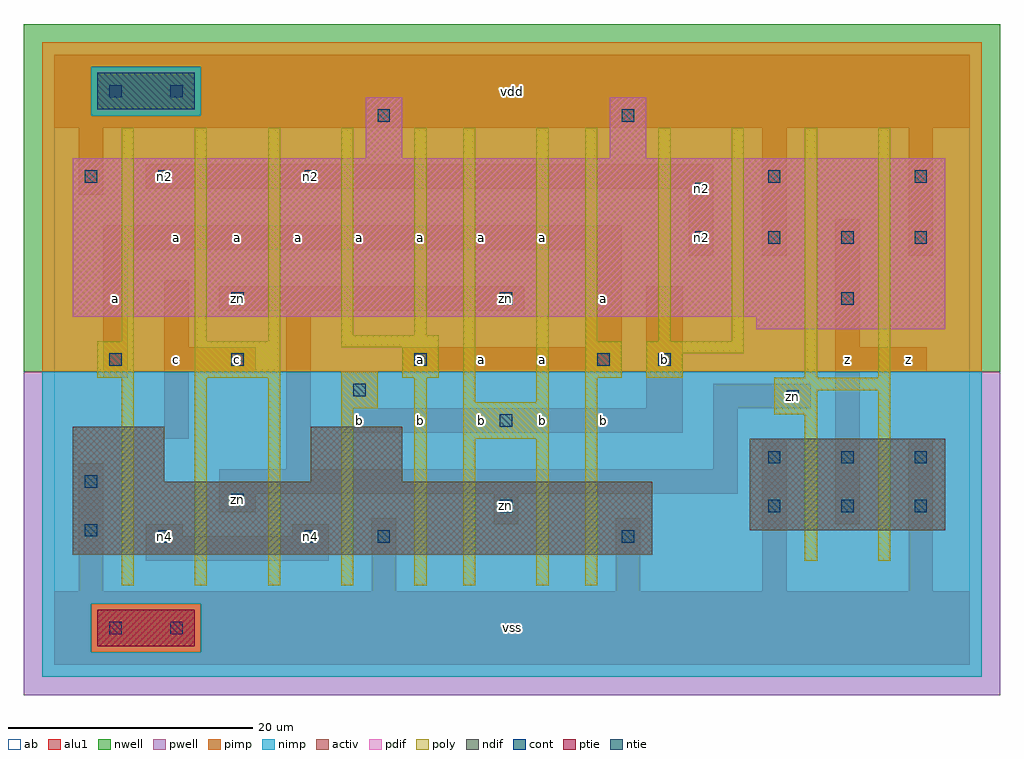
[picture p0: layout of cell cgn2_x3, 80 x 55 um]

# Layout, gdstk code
import gdstk
lib = gdstk.Library(unit=1e-6, precision=1e-09)
def R(c, l, rs):  # rectangles x0, y0, x1, y1
    for r in rs: c.add(gdstk.rectangle(r[:2], r[2:], *l))
def A(c, l, x, y, w, h, nx, ny, dx, dy):  # array of equal rectangles
    R(c, l, [(x+i*dx, y+j*dy, x+i*dx+w, y+j*dy+h) for i in range(nx) for j in range(ny)])
ndif = (3, 0)
pdif = (4, 0)
ntie = (5, 0)
ptie = (6, 0)
cont = (25, 0)
pwell = (41, 0)
nwell = (42, 0)
activ = (43, 0)
pimp = (44, 0)
nimp = (45, 0)
poly = (46, 0)
alu1 = (49, 0)
ab = (63, 0)

cgn2_x3 = lib.new_cell('cgn2_x3')
R(cgn2_x3, ndif, [(1.5,9,49,15), (57,11,73,18.5), (1.5,15,9,19.5), (21,15,28.5,19.5)])
R(cgn2_x3, pdif, [(57.5,27.5,73,28.5), (1.5,28.5,73,41.5), (25.5,41.5,28.5,46.5), (45.5,41.5,48.5,46.5)])
R(cgn2_x3, ntie, [(3.5,45.5,11.5,48.5)])
R(cgn2_x3, ptie, [(3.5,1.5,11.5,4.5)])
A(cgn2_x3, cont, 4.5, 2.5, 1, 1, 1, 3, 0, 22)
A(cgn2_x3, cont, 58.5, 12.5, 1, 1, 3, 2, 6, 4)
A(cgn2_x3, cont, 14.5, 24.5, 1, 1, 3, 1, 15, 0)
A(cgn2_x3, cont, 52.5, 34.5, 1, 1, 4, 1, 6, 0)
R(cgn2_x3, cont, [(9.5,2.5,10.5,3.5), (8.5,10,9.5,11), (20.5,10,21.5,11), (26.5,10,27.5,11), (46.5,10,47.5,11), (2.5,10.5,3.5,11.5), (36.5,12.5,37.5,13.5), (14.5,13,15.5,14), (2.5,14.5,3.5,15.5), (36.5,19.5,37.5,20.5), (60,21.5,61,22.5), (24.5,22,25.5,23), (49.5,24.5,50.5,25.5), (14.5,29.5,15.5,30.5), (36.5,29.5,37.5,30.5), (64.5,29.5,65.5,30.5), (52.5,38.5,53.5,39.5), (2.5,39.5,3.5,40.5), (8.5,39.5,9.5,40.5), (20.5,39.5,21.5,40.5), (58.5,39.5,59.5,40.5), (70.5,39.5,71.5,40.5), (26.5,44.5,27.5,45.5), (46.5,44.5,47.5,45.5), (9.5,46.5,10.5,47.5)])
R(cgn2_x3, pwell, [(-2.5,-2.5,77.5,24)])
R(cgn2_x3, nwell, [(-2.5,24,77.5,52.5)])
R(cgn2_x3, activ, [(3.5,1.5,11.5,4.5), (1.5,9,49,15), (57,11,73,18.5), (1.5,15,9,19.5), (21,15,28.5,19.5), (57.5,27.5,73,28.5), (1.5,28.5,73,41.5), (25.5,41.5,28.5,46.5), (45.5,41.5,48.5,46.5), (3.5,45.5,11.5,48.5)])
R(cgn2_x3, pimp, [(3,1,12,5), (-1,24,76,45), (-1,45,3,49), (12,45,76,49), (-1,49,76,51)])
R(cgn2_x3, nimp, [(-1,-1,76,1), (-1,1,3,5), (12,1,76,5), (-1,5,76,24), (3,45,12,49)])
A(cgn2_x3, poly, 5.5, 6.5, 1, 17, 3, 1, 6, 0)
A(cgn2_x3, poly, 5.5, 26.5, 1, 17.5, 3, 1, 6, 0)
A(cgn2_x3, poly, 43.5, 26.5, 1, 17.5, 3, 1, 6, 0)
R(cgn2_x3, poly, [(23.5,6.5,24.5,21), (29.5,6.5,30.5,23.5), (33.5,6.5,34.5,18.5), (39.5,6.5,40.5,18.5), (43.5,6.5,44.5,23.5), (61.5,8.5,62.5,20.5), (67.5,8.5,68.5,22.5), (33.5,18.5,40.5,21.5), (59,20.5,62.5,22.5), (23.5,21,26.5,24), (33.5,21.5,34.5,44), (39.5,21.5,40.5,44), (59,22.5,68.5,23.5), (3.5,23.5,6.5,26.5), (11.5,23.5,18.5,26.5), (28.5,23.5,31.5,26), (43.5,23.5,46.5,26.5), (48.5,23.5,51.5,25.5), (61.5,23.5,62.5,44), (67.5,23.5,68.5,44), (48.5,25.5,56.5,26.5), (23.5,26,31.5,27), (23.5,27,24.5,44), (29.5,27,30.5,44)])
R(cgn2_x3, alu1, [(0,0,75,6), (0,0,75,6), (2,6,4,16.5), (2,6,4,16.5), (26,6,28,12), (26,6,28,12), (46,6,48,12), (46,6,48,12), (58,6,60,18.5), (58,6,60,18.5), (70,6,72,18.5), (70,6,72,18.5), (7.5,8.5,22.5,10.5), (7.5,8.5,22.5,10.5), (7.5,10.5,10.5,11.5), (7.5,10.5,10.5,11.5), (19.5,10.5,22.5,11.5), (19.5,10.5,22.5,11.5), (36,11.5,38,14), (36,11.5,38,14), (64,11.5,66,24), (64,11.5,66,24), (13.5,12.5,16.5,14), (13.5,12.5,16.5,14), (13.5,14,56,16), (13.5,14,56,16), (19,16,21,29), (19,16,21,29), (54,16,56,21), (54,16,56,21), (9,18.5,11,24), (9,18.5,11,24), (23.5,19,51.5,21), (23.5,19,51.5,21), (23.5,21,26.5,24), (23.5,21,26.5,24), (48.5,21,51.5,31), (48.5,21,51.5,31), (54,21,62,23), (54,21,62,23), (4,23.5,6,34), (4,23.5,6,34), (9,24,16.5,26), (9,24,16.5,26), (28.5,24,46.5,26), (28.5,24,46.5,26), (64,24,71.5,26), (64,24,71.5,26), (9,26,11,31.5), (9,26,11,31.5), (43.5,26,46.5,34), (43.5,26,46.5,34), (64,26,66,36.5), (64,26,66,36.5), (13.5,29,38.5,31), (13.5,29,38.5,31), (52,33.5,54,39), (52,33.5,54,39), (58,33.5,60,44), (58,33.5,60,44), (70,33.5,72,44), (70,33.5,72,44), (4,34,46.5,36), (4,34,46.5,36), (2,38.5,4,44), (2,38.5,4,44), (7.5,39,54,41), (7.5,39,54,41), (0,44,75,50), (0,44,75,50)])
R(cgn2_x3, ab, [(0,0,75,50)])
cgn2_x3.add(gdstk.Label('n4', (9,10.5), layer=49, texttype=0))
cgn2_x3.add(gdstk.Label('zn', (15,13.5), layer=49, texttype=0))
cgn2_x3.add(gdstk.Label('zn', (15,30), layer=49, texttype=0))
cgn2_x3.add(gdstk.Label('n2', (9,40), layer=49, texttype=0))
cgn2_x3.add(gdstk.Label('n4', (21,10.5), layer=49, texttype=0))
cgn2_x3.add(gdstk.Label('n2', (21,40), layer=49, texttype=0))
cgn2_x3.add(gdstk.Label('zn', (37,13), layer=49, texttype=0))
cgn2_x3.add(gdstk.Label('zn', (37,30), layer=49, texttype=0))
cgn2_x3.add(gdstk.Label('n2', (53,35), layer=49, texttype=0))
cgn2_x3.add(gdstk.Label('n2', (53,39), layer=49, texttype=0))
cgn2_x3.add(gdstk.Label('zn', (60.5,22), layer=49, texttype=0))
cgn2_x3.add(gdstk.Label('c', (10,25), layer=49, texttype=0))
cgn2_x3.add(gdstk.Label('a', (5,30), layer=49, texttype=0))
cgn2_x3.add(gdstk.Label('a', (10,35), layer=49, texttype=0))
cgn2_x3.add(gdstk.Label('b', (25,20), layer=49, texttype=0))
cgn2_x3.add(gdstk.Label('c', (15,25), layer=49, texttype=0))
cgn2_x3.add(gdstk.Label('a', (15,35), layer=49, texttype=0))
cgn2_x3.add(gdstk.Label('a', (25,35), layer=49, texttype=0))
cgn2_x3.add(gdstk.Label('a', (20,35), layer=49, texttype=0))
cgn2_x3.add(gdstk.Label('vss', (37.5,3), layer=49, texttype=0))
cgn2_x3.add(gdstk.Label('b', (40,20), layer=49, texttype=0))
cgn2_x3.add(gdstk.Label('b', (35,20), layer=49, texttype=0))
cgn2_x3.add(gdstk.Label('b', (30,20), layer=49, texttype=0))
cgn2_x3.add(gdstk.Label('a', (30,25), layer=49, texttype=0))
cgn2_x3.add(gdstk.Label('a', (40,25), layer=49, texttype=0))
cgn2_x3.add(gdstk.Label('a', (35,25), layer=49, texttype=0))
cgn2_x3.add(gdstk.Label('a', (30,35), layer=49, texttype=0))
cgn2_x3.add(gdstk.Label('a', (40,35), layer=49, texttype=0))
cgn2_x3.add(gdstk.Label('a', (35,35), layer=49, texttype=0))
cgn2_x3.add(gdstk.Label('vdd', (37.5,47), layer=49, texttype=0))
cgn2_x3.add(gdstk.Label('b', (45,20), layer=49, texttype=0))
cgn2_x3.add(gdstk.Label('b', (50,25), layer=49, texttype=0))
cgn2_x3.add(gdstk.Label('a', (45,30), layer=49, texttype=0))
cgn2_x3.add(gdstk.Label('z', (65,25), layer=49, texttype=0))
cgn2_x3.add(gdstk.Label('z', (70,25), layer=49, texttype=0))

lib.write_gds('cgn2_x3.gds')
